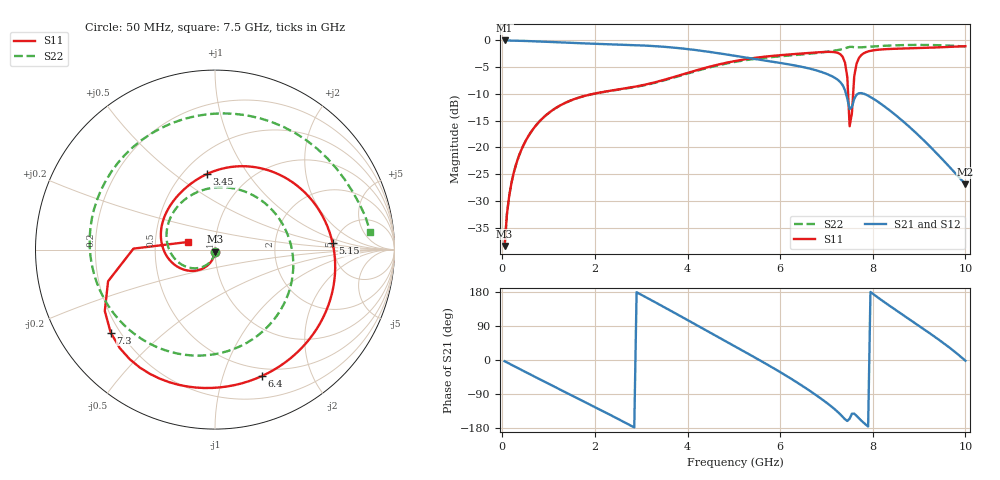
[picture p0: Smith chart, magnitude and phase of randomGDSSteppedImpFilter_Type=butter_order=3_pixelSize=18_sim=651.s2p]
! freq	dB(S11)	phase(S11)	dB(S12)	phase(S12)
!  dB(S21)	phase(S21)	dB(S22)	phase(S22)
!S-par simulation data
#  GHz  S  DB  R 50
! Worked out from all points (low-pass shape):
!   200 points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, 50 MHz to 10 GHz, reference 50 ohm
!   highest |S21| = -0.01 dB at 50 MHz (marker M1); lowest = -26.9 dB at 10 GHz (marker M2)
!   |S21| within 3 dB of the highest: start of sweep to 5.119 GHz
!   lowest |S11| = -38.4 dB at 50 MHz (marker M3), VSWR 1.02, Z = 49.9 - j1.2 ohm
!   |S11| at or under -10 dB: start of sweep to 1.952 GHz; 7.467 GHz to 7.576 GHz (108.7 MHz wide, 1.44 % of centre)
!   |S22| runs from -38.4 to -0.8 dB; largest |S21 - S12| = 0
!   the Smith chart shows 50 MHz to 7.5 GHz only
!   S11 on the Smith chart (normalised r, x): 50 MHz: 1.00, -0.02; 3.45 GHz: 0.65, +0.66; 5.15 GHz: 4.74, +0.59; 6.4 GHz: 0.42, -1.35; 7.3 GHz: 0.17, -0.34; 7.5 GHz: 0.73, +0.06
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0.05  -38.43 -92.3  -0.01 -3.2  -0.01 -3.2  -38.44 -92.8
0.2  -26.53 -101.8  -0.03 -12.7  -0.03 -12.7  -26.53 -103.5
0.5  -18.84 -119.8  -0.10 -31.6  -0.10 -31.6  -18.85 -124.2
1.15  -12.65 -156.7  -0.33 -72.0  -0.33 -72.0  -12.66 -168.6
1.75  -10.43 172.1  -0.55 -108.8  -0.55 -108.8  -10.45 148.9
2.65  -8.97 130.9  -0.81 -165.1  -0.81 -165.1  -9.03 77.6
3.4  -7.59 98.5  -1.13 145.9  -1.13 145.9  -7.69 12.1
3.45  -7.47 96.2  -1.16 142.5  -1.16 142.5  -7.57 7.7
4.2  -5.56 58.0  -1.82 91.9  -1.82 91.9  -5.69 -55.2
5.05  -3.81 9.0  -2.91 34.2  -2.91 34.2  -3.97 -121.2
5.15  -3.66 3.1  -3.05 27.4  -3.05 27.4  -3.83 -128.9
5.85  -2.87 -37.7  -4.00 -21.1  -4.00 -21.1  -3.08 174.6
6.4  -2.48 -69.6  -4.81 -62.0  -4.81 -62.0  -2.68 123.7
6.7  -2.29 -87.9  -5.40 -86.3  -5.40 -86.3  -2.43 92.9
7.3  -2.58 -141.5  -7.80 -143.5  -7.80 -143.5  -1.71 28.5
7.45  -6.85 179.3  -10.87 -160.9  -10.87 -160.9  -1.33 12.5
7.5  -16.04 164.4  -12.83 -154.8  -12.83 -154.8  -1.21 6.5
7.55  -13.56 -71.6  -12.41 -141.7  -12.41 -141.7  -1.20 0.3
7.7  -3.30 -112.9  -9.87 -153.7  -9.87 -153.7  -1.31 -14.8
8.35  -1.60 176.5  -12.97 144.2  -12.97 144.2  -0.96 -71.1
9.2  -1.38 100.1  -19.51 73.1  -19.51 73.1  -0.85 -131.4
10  -1.08 35.9  -26.88 -1.9  -26.88 -1.9  -1.16 172.1
